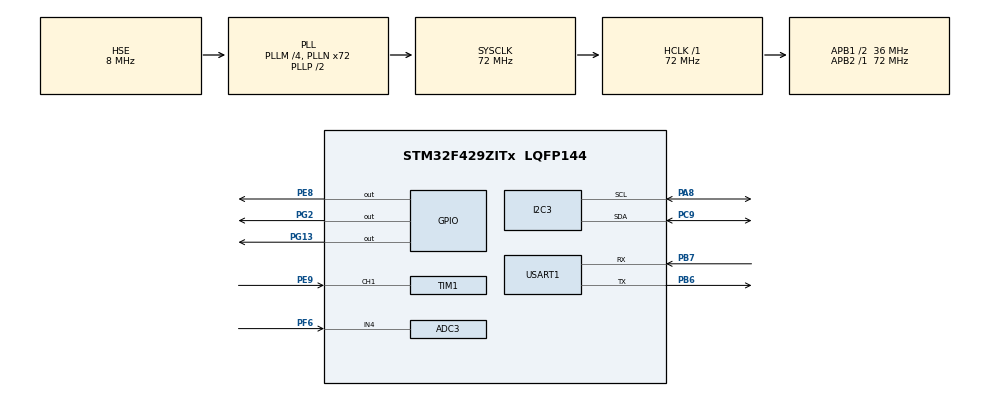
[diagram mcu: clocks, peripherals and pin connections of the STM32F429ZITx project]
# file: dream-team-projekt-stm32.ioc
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ADC3.Channel-2\#ChannelRegularConversion=ADC_CHANNEL_4
ADC3.DiscontinuousConvMode=DISABLE
ADC3.NbrOfConversionFlag=1
ADC3.Rank-2\#ChannelRegularConversion=1
ADC3.Resolution=ADC_RESOLUTION_12B
ADC3.SamplingTime-2\#ChannelRegularConversion=ADC_SAMPLETIME_3CYCLES
ADC3.ScanConvMode=DISABLE
Mcu.Family=STM32F4
Mcu.Name=STM32F429ZITx
Mcu.Package=LQFP144
NVIC.PriorityGroup=NVIC_PRIORITYGROUP_4
NVIC.TIM1_CC_IRQn=true\:0\:0\:false\:false\:true\:true\:true
NVIC.TIM2_IRQn=true\:0\:0\:false\:false\:true\:true\:true
NVIC.USART1_IRQn=true\:0\:0\:false\:false\:true\:true\:true
PA8.Mode=I2C
PA8.Signal=I2C3_SCL
PB6.Mode=Asynchronous
PB6.Signal=USART1_TX
PB7.Mode=Asynchronous
PB7.Signal=USART1_RX
PC14/OSC32_IN.Mode=LSE-External-Oscillator
PC14/OSC32_IN.Signal=RCC_OSC32_IN
PC15/OSC32_OUT.Mode=LSE-External-Oscillator
PC15/OSC32_OUT.Signal=RCC_OSC32_OUT
PC9.Mode=I2C
PC9.Signal=I2C3_SDA
PE8.Signal=GPIO_Output
PE9.Signal=S_TIM1_CH1
PF6.Mode=IN4
PF6.Signal=ADC3_IN4
PG13.Signal=GPIO_Output
PG2.GPIO_PuPd=GPIO_PULLDOWN
PG2.GPIO_Speed=GPIO_SPEED_FREQ_VERY_HIGH
PG2.Signal=GPIO_Output
PH0/OSC_IN.Mode=HSE-External-Oscillator
PH0/OSC_IN.Signal=RCC_OSC_IN
PH1/OSC_OUT.Mode=HSE-External-Oscillator
PH1/OSC_OUT.Signal=RCC_OSC_OUT
ProjectManager.HeapSize=0x200
ProjectManager.StackSize=0x400
ProjectManager.TargetToolchain=Makefile
RCC.48MHZClocksFreq_Value=36000000
RCC.AHBFreq_Value=72000000
RCC.APB1CLKDivider=RCC_HCLK_DIV2
RCC.APB1Freq_Value=36000000
RCC.APB1TimFreq_Value=72000000
RCC.APB2Freq_Value=72000000
RCC.APB2TimFreq_Value=72000000
RCC.CortexFreq_Value=72000000
RCC.HCLKFreq_Value=72000000
RCC.HSE_VALUE=8000000
RCC.HSI_VALUE=16000000
RCC.PLLM=4
RCC.PLLN=72
RCC.PLLSourceVirtual=RCC_PLLSOURCE_HSE
RCC.SYSCLKFreq_VALUE=72000000
RCC.SYSCLKSource=RCC_SYSCLKSOURCE_PLLCLK
RCC.VCOOutputFreq_Value=144000000
SH.S_TIM1_CH1.0=TIM1_CH1,Input_Capture1_from_TI1
TIM1.Channel-Input_Capture1_from_TI1=TIM_CHANNEL_1
TIM1.Prescaler=71
TIM2.Period=35999
TIM2.Prescaler=1
USART1.VirtualMode=VM_ASYNC
VP_TIM2_VS_ClockSourceINT.Mode=Internal
board=custom

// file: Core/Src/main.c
/* USER CODE BEGIN Header */
/**
  ******************************************************************************
  * @file           : main.c
  * @brief          : Main program body
  ******************************************************************************
  * @attention
  *
  * <h2><center>&copy; Copyright (c) 2021 STMicroelectronics.
  * All rights reserved.</center></h2>
  *
  * This software component is licensed by ST under BSD 3-Clause license,
  * the "License"; You may not use this file except in compliance with the
  * License. You may obtain a copy of the License at:
  *                        opensource.org/licenses/BSD-3-Clause
  *
  ******************************************************************************
  */
/* USER CODE END Header */
#include "main.h"
#include "adc.h"
#include "i2c.h"
#include "tim.h"
#include "usart.h"
#include "gpio.h"

/* USER CODE BEGIN Includes */
#include <stdio.h>
#include <string.h>

#include "hcsr04.h"
#include "wifi.h"
#include "bme280.h"
#include "sh.h"
/* USER CODE END Includes */

/* USER CODE BEGIN PV */
SH senzor_tlo;
uint8_t errNum = 0;
BME280 senzor_zrak;
/* USER CODE END PV */

void SystemClock_Config(void);

int main(void)
{

  /* MCU Configuration--------------------------------------------------------*/

  /* Reset of all peripherals, Initializes the Flash interface and the Systick. */
  HAL_Init();

  /* Configure the system clock */
  SystemClock_Config();

  /* Initialize all configured peripherals */
  MX_GPIO_Init();
  MX_USART1_UART_Init();
  MX_I2C3_Init();
  MX_ADC3_Init();
  MX_TIM2_Init();
  MX_TIM1_Init();
  /* USER CODE BEGIN 2 */
  HAL_TIM_IC_Start_IT(&htim1, TIM_CHANNEL_1);
  HAL_TIM_Base_Start_IT(&htim2);

  uint8_t errors =  BME280_Initialise(&senzor_zrak, &hi2c3);

    if(errors != 0)
    {
  	  HAL_GPIO_WritePin(GPIOG,GPIO_PIN_13,GPIO_PIN_SET);
  	  while(1);
    }

    int8_t err = WIFI_Init("dlink-F7E6", "bdqjy77979");

    if(err != 0)
    {
  	  HAL_GPIO_WritePin(GPIOG,GPIO_PIN_13,GPIO_PIN_SET);
  	  while(1);
    }

    errors = BME280_PerformMeasurements(&senzor_zrak);

    if(errors != 0)
    {
  	  HAL_GPIO_WritePin(GPIOG,GPIO_PIN_13,GPIO_PIN_SET);
  	  while(1);
    }

    SH_init(&senzor_tlo, &hadc3);

    /* USER CODE END 2 */

    /* Infinite loop */
    /* USER CODE BEGIN WHILE */

    // wait for 2 minutes, perform measurements, send them to server, water the plant
    while (1)
    {

  	  timer2_wait_millisec(TIME_2_MIN);

  	  HAL_GPIO_WritePin(GPIOG,GPIO_PIN_13,GPIO_PIN_SET);
  	  HAL_Delay(500);
  	  HAL_GPIO_WritePin(GPIOG,GPIO_PIN_13,GPIO_PIN_RESET);
  	  err = BME280_ReadData(&senzor_zrak);

  	 if(err != HAL_OK)
  	  {
  		  HAL_GPIO_WritePin(GPIOG,GPIO_PIN_13,GPIO_PIN_SET);
  		  while(1);
  	  }

  	  errors = SH_ReadData(&senzor_tlo);
  	  if(errors != 0)
  	  {
  		  HAL_GPIO_WritePin(GPIOG,GPIO_PIN_13,GPIO_PIN_SET);
  		  while(1);
  	  }

  	  HCSR04_Read();

      // ne brisati timer jer ce hsr04 mozda poslati staru vrijednost
  	  HAL_GPIO_WritePin(GPIOG,GPIO_PIN_13,GPIO_PIN_SET);
  	  HAL_Delay(5000);
  	  HAL_GPIO_WritePin(GPIOG,GPIO_PIN_13,GPIO_PIN_RESET);
	  HAL_Delay(500);

  	  int8_t val = WIFI_SendRequestWithParams("ekantica.herokuapp.com", "/data",(double) senzor_zrak.temp, (double) senzor_zrak.hum, (double)senzor_tlo.soilHumidity, (double) Distance);

  	  if(val == 0)
  	  {
  	  	  // ne treba zaliti; LUKA nadopisi

  	  }
  	  else if(val == 1)
  	  {
  		  // zalij LUKA nadopisi

  	  }
  	  else
  	  {
  		//error; kratak blink nakon errora
  	  	  HAL_GPIO_WritePin(GPIOG,GPIO_PIN_13,GPIO_PIN_SET);
  	  	  HAL_Delay(500);
  	  	  HAL_GPIO_WritePin(GPIOG,GPIO_PIN_13,GPIO_PIN_RESET);
  	  	  HAL_Delay(1000);
  	  }
    }
}

void SystemClock_Config(void)
{
  RCC_OscInitTypeDef RCC_OscInitStruct = {0};
  RCC_ClkInitTypeDef RCC_ClkInitStruct = {0};

  /** Configure the main internal regulator output voltage
  */
  __HAL_RCC_PWR_CLK_ENABLE();
  __HAL_PWR_VOLTAGESCALING_CONFIG(PWR_REGULATOR_VOLTAGE_SCALE3);
  /** Initializes the RCC Oscillators according to the specified parameters
  * in the RCC_OscInitTypeDef structure.
  */
  RCC_OscInitStruct.OscillatorType = RCC_OSCILLATORTYPE_HSE;
  RCC_OscInitStruct.HSEState = RCC_HSE_ON;
  RCC_OscInitStruct.PLL.PLLState = RCC_PLL_ON;
  RCC_OscInitStruct.PLL.PLLSource = RCC_PLLSOURCE_HSE;
  RCC_OscInitStruct.PLL.PLLM = 4;
  RCC_OscInitStruct.PLL.PLLN = 72;
  RCC_OscInitStruct.PLL.PLLP = RCC_PLLP_DIV2;
  RCC_OscInitStruct.PLL.PLLQ = 4;
  if (HAL_RCC_OscConfig(&RCC_OscInitStruct) != HAL_OK)
  {
    Error_Handler();
  }
  /** Initializes the CPU, AHB and APB buses clocks
  */
  RCC_ClkInitStruct.ClockType = RCC_CLOCKTYPE_HCLK|RCC_CLOCKTYPE_SYSCLK
                              |RCC_CLOCKTYPE_PCLK1|RCC_CLOCKTYPE_PCLK2;
  RCC_ClkInitStruct.SYSCLKSource = RCC_SYSCLKSOURCE_PLLCLK;
  RCC_ClkInitStruct.AHBCLKDivider = RCC_SYSCLK_DIV1;
  RCC_ClkInitStruct.APB1CLKDivider = RCC_HCLK_DIV2;
  RCC_ClkInitStruct.APB2CLKDivider = RCC_HCLK_DIV1;

  if (HAL_RCC_ClockConfig(&RCC_ClkInitStruct, FLASH_LATENCY_2) != HAL_OK)
  {
    Error_Handler();
  }
}

/* USER CODE BEGIN 4 */

void Mjerenje_Vrijednosti(){

}

void Zalij_Ako_Je_Suho(){

}

/* USER CODE END 4 */

void Error_Handler(void)
{
  __disable_irq();
  while (1)
  {
  }
}
